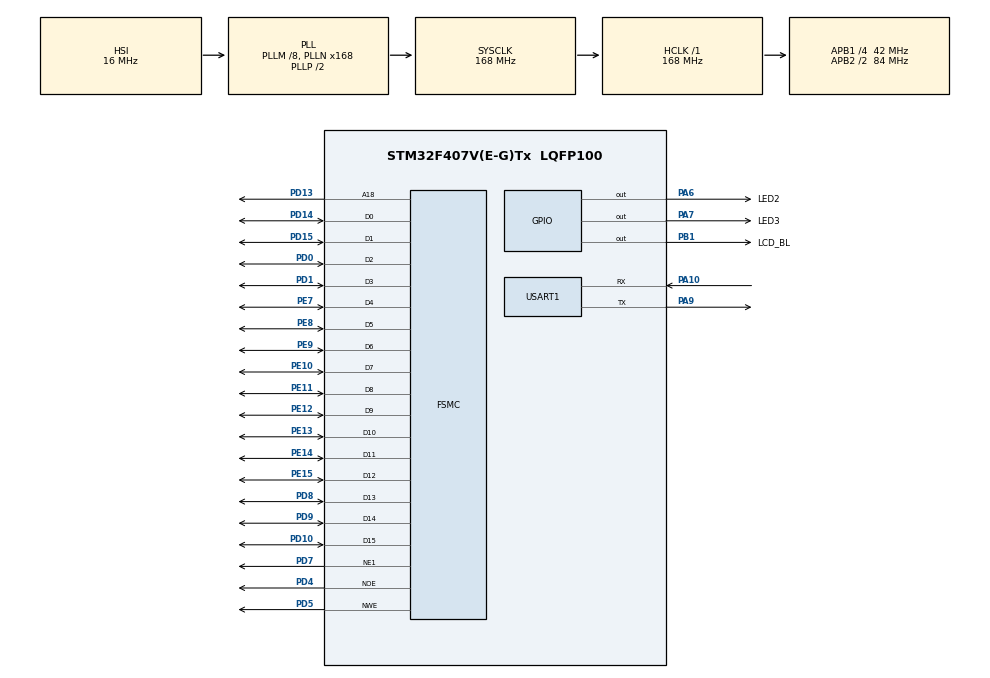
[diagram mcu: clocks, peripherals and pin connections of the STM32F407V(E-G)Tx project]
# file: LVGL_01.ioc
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FSMC.AddressSetupTime1=15
FSMC.BusTurnAroundDuration1=0
FSMC.DataSetupTime1=60
FSMC.ExtendedAddressSetupTime1=9
FSMC.ExtendedBusTurnAroundDuration1=0
FSMC.ExtendedDataSetupTime1=9
FSMC.ExtendedMode1=FSMC_EXTENDED_MODE_ENABLE
Mcu.Family=STM32F4
Mcu.Name=STM32F407V(E-G)Tx
Mcu.Package=LQFP100
NVIC.PriorityGroup=NVIC_PRIORITYGROUP_4
NVIC.TIM6_DAC_IRQn=true\:0\:0\:false\:false\:true\:true\:true\:true
PA10.Mode=Asynchronous
PA10.Signal=USART1_RX
PA13.Mode=Serial_Wire
PA13.Signal=SYS_JTMS-SWDIO
PA14.Mode=Serial_Wire
PA14.Signal=SYS_JTCK-SWCLK
PA6.GPIO_Label=LED2
PA6.GPIO_PuPd=GPIO_PULLUP
PA6.GPIO_Speed=GPIO_SPEED_FREQ_VERY_HIGH
PA6.PinState=GPIO_PIN_SET
PA6.Signal=GPIO_Output
PA7.GPIO_Label=LED3
PA7.GPIO_ModeDefaultOutputPP=GPIO_MODE_OUTPUT_PP
PA7.GPIO_PuPd=GPIO_PULLUP
PA7.GPIO_Speed=GPIO_SPEED_FREQ_VERY_HIGH
PA7.PinState=GPIO_PIN_SET
PA7.Signal=GPIO_Output
PA9.Mode=Asynchronous
PA9.Signal=USART1_TX
PB1.GPIO_Label=LCD_BL
PB1.Signal=GPIO_Output
PD0.Mode=16b-d1
PD0.Signal=FSMC_D2
PD1.Mode=16b-d1
PD1.Signal=FSMC_D3
PD10.Mode=16b-d1
PD10.Signal=FSMC_D15
PD13.Mode=A18_1
PD13.Signal=FSMC_A18
PD14.Mode=16b-d1
PD14.Signal=FSMC_D0
PD15.Mode=16b-d1
PD15.Signal=FSMC_D1
PD4.Mode=Lcd1
PD4.Signal=FSMC_NOE
PD5.Mode=Lcd1
PD5.Signal=FSMC_NWE
PD7.Mode=NorPsramChipSelect1_1
PD7.Signal=FSMC_NE1
PD8.Mode=16b-d1
PD8.Signal=FSMC_D13
PD9.Mode=16b-d1
PD9.Signal=FSMC_D14
PE10.Mode=16b-d1
PE10.Signal=FSMC_D7
PE11.Mode=16b-d1
PE11.Signal=FSMC_D8
PE12.Mode=16b-d1
PE12.Signal=FSMC_D9
PE13.Mode=16b-d1
PE13.Signal=FSMC_D10
PE14.Mode=16b-d1
PE14.Signal=FSMC_D11
PE15.Mode=16b-d1
PE15.Signal=FSMC_D12
PE7.Mode=16b-d1
PE7.Signal=FSMC_D4
PE8.Mode=16b-d1
PE8.Signal=FSMC_D5
PE9.Mode=16b-d1
PE9.Signal=FSMC_D6
PH0-OSC_IN.Mode=HSE-External-Oscillator
PH0-OSC_IN.Signal=RCC_OSC_IN
PH1-OSC_OUT.Mode=HSE-External-Oscillator
PH1-OSC_OUT.Signal=RCC_OSC_OUT
ProjectManager.HeapSize=0x200
ProjectManager.StackSize=0x400
ProjectManager.TargetToolchain=MDK-ARM V5.32
RCC.48MHZClocksFreq_Value=84000000
RCC.AHBFreq_Value=168000000
RCC.APB1CLKDivider=RCC_HCLK_DIV4
RCC.APB1Freq_Value=42000000
RCC.APB1TimFreq_Value=84000000
RCC.APB2CLKDivider=RCC_HCLK_DIV2
RCC.APB2Freq_Value=84000000
RCC.APB2TimFreq_Value=168000000
RCC.CortexFreq_Value=168000000
RCC.HCLKFreq_Value=168000000
RCC.HSE_VALUE=8000000
RCC.HSI_VALUE=16000000
RCC.LSE_VALUE=32768
RCC.PLLM=8
RCC.PLLN=168
RCC.SYSCLKFreq_VALUE=168000000
RCC.SYSCLKSource=RCC_SYSCLKSOURCE_PLLCLK
RCC.VCOOutputFreq_Value=336000000
TIM6.Period=1000-1
TIM6.Prescaler=84
USART1.VirtualMode=VM_ASYNC
VP_TIM6_VS_ClockSourceINT.Mode=Enable_Timer
board=custom

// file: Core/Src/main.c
/* USER CODE BEGIN Header */
/**
  ******************************************************************************
  * @file           : main.c
  * @brief          : Main program body
  ******************************************************************************
  * @attention
  *
  * Copyright (c) 2026 STMicroelectronics.
  * All rights reserved.
  *
  * This software is licensed under terms that can be found in the LICENSE file
  * in the root directory of this software component.
  * If no LICENSE file comes with this software, it is provided AS-IS.
  *
  ******************************************************************************
  */
/* USER CODE END Header */
#include "main.h"
#include "tim.h"
#include "usart.h"
#include "gpio.h"
#include "fsmc.h"

/* USER CODE BEGIN Includes */
#include "stdio.h"
#include "lcd.h"
#include "key_led.h"
#include "key.h"
#include "touch.h"
//LVGL
#include "lvgl.h"
#include "lv_port_disp.h"
#include "lv_port_indev.h"
//gui guider
#include "gui_guider.h"
#include "events_init.h"

/* USER CODE END Includes */

/* USER CODE BEGIN PM */
lv_ui guider_ui;
/* USER CODE END PM */

void SystemClock_Config(void);

/* USER CODE BEGIN 0 */
static void btn_event_handler(lv_event_t * e){
    static bool led_flg = false;
    HAL_GPIO_TogglePin(GPIOA, LED3_Pin);
    led_flg = !led_flg;

    lv_obj_t * btn = lv_event_get_target(e);
    lv_obj_t * label = lv_obj_get_child(btn, 0);

    if(led_flg){
        lv_label_set_text(label, "Turn OFF LED2");
    }else{
        lv_label_set_text(label, "Turn ON LED2");
    }
}
/* USER CODE END 0 */

int main(void)
{

  /* MCU Configuration--------------------------------------------------------*/

  /* Reset of all peripherals, Initializes the Flash interface and the Systick. */
  HAL_Init();

  /* Configure the system clock */
  SystemClock_Config();

  /* Initialize all configured peripherals */
  MX_GPIO_Init();
  MX_FSMC_Init();
  MX_USART1_UART_Init();
  MX_TIM6_Init();
  /* USER CODE BEGIN 2 */

  printf("Hello World!\n");
  DWT_Init(); // 初始化DWT
  key_init();

  lv_init();
  lv_port_disp_init();
  lv_port_indev_init();

  setup_ui(&guider_ui);
  events_init(&guider_ui);

  /* USER CODE END 2 */

  /* Infinite loop */
  while (1)
  {

    /* USER CODE BEGIN 3 */

        lv_timer_handler();
        delay_ms(5);
        // Led2_Blink_NonBlocking(500);  // 每500ms翻转一次LED2
  }
  /* USER CODE END 3 */
}

void SystemClock_Config(void)
{
  RCC_OscInitTypeDef RCC_OscInitStruct = {0};
  RCC_ClkInitTypeDef RCC_ClkInitStruct = {0};

  /** Configure the main internal regulator output voltage
  */
  __HAL_RCC_PWR_CLK_ENABLE();
  __HAL_PWR_VOLTAGESCALING_CONFIG(PWR_REGULATOR_VOLTAGE_SCALE1);

  /** Initializes the RCC Oscillators according to the specified parameters
  * in the RCC_OscInitTypeDef structure.
  */
  RCC_OscInitStruct.OscillatorType = RCC_OSCILLATORTYPE_HSI;
  RCC_OscInitStruct.HSIState = RCC_HSI_ON;
  RCC_OscInitStruct.HSICalibrationValue = RCC_HSICALIBRATION_DEFAULT;
  RCC_OscInitStruct.PLL.PLLState = RCC_PLL_ON;
  RCC_OscInitStruct.PLL.PLLSource = RCC_PLLSOURCE_HSI;
  RCC_OscInitStruct.PLL.PLLM = 8;
  RCC_OscInitStruct.PLL.PLLN = 168;
  RCC_OscInitStruct.PLL.PLLP = RCC_PLLP_DIV2;
  RCC_OscInitStruct.PLL.PLLQ = 4;
  if (HAL_RCC_OscConfig(&RCC_OscInitStruct) != HAL_OK)
  {
    Error_Handler();
  }

  /** Initializes the CPU, AHB and APB buses clocks
  */
  RCC_ClkInitStruct.ClockType = RCC_CLOCKTYPE_HCLK|RCC_CLOCKTYPE_SYSCLK
                              |RCC_CLOCKTYPE_PCLK1|RCC_CLOCKTYPE_PCLK2;
  RCC_ClkInitStruct.SYSCLKSource = RCC_SYSCLKSOURCE_PLLCLK;
  RCC_ClkInitStruct.AHBCLKDivider = RCC_SYSCLK_DIV1;
  RCC_ClkInitStruct.APB1CLKDivider = RCC_HCLK_DIV4;
  RCC_ClkInitStruct.APB2CLKDivider = RCC_HCLK_DIV2;

  if (HAL_RCC_ClockConfig(&RCC_ClkInitStruct, FLASH_LATENCY_5) != HAL_OK)
  {
    Error_Handler();
  }
}

void Error_Handler(void)
{
  /* USER CODE BEGIN Error_Handler_Debug */
  /* User can add his own implementation to report the HAL error return state */
  __disable_irq();
  while (1)
  {
//		HAL_GPIO_WritePin(GPIOA, LED2_Pin|LED3_Pin, GPIO_PIN_RESET);
  }
  /* USER CODE END Error_Handler_Debug */
}
